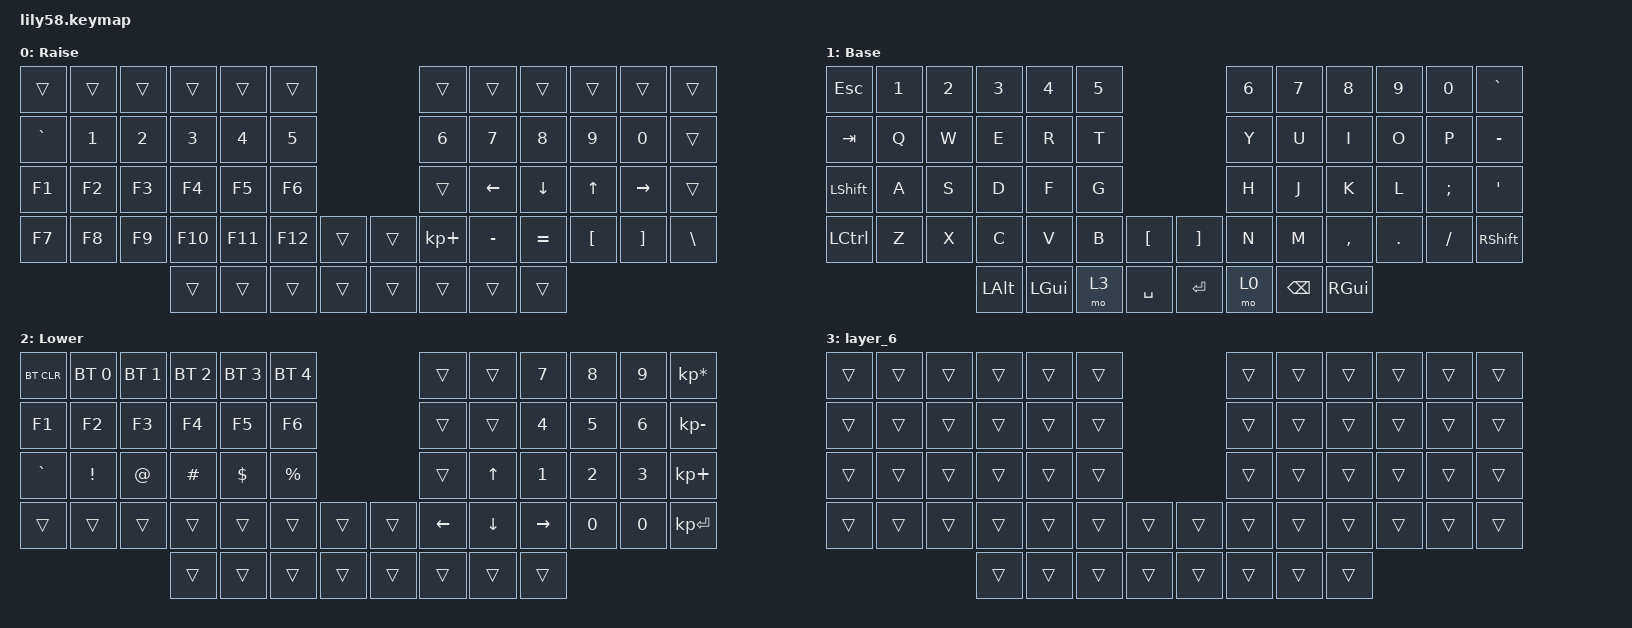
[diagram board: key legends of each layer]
/*
 * Copyright (c) 2020 The ZMK Contributors
 *
 * SPDX-License-Identifier: MIT
 */

#include <behaviors.dtsi>
#include <dt-bindings/zmk/bt.h>
#include <dt-bindings/zmk/keys.h>

/ {
    keymap {
        compatible = "zmk,keymap";

        Layer_0 {
            // ------------------------------------------------------------------------------------------------------------
            // |       |     |     |      |      |      |                   |      |       |       |      |       |       |
            // |   `   |  1  |  2  |  3   |  4   |  5   |                   |  6   |   7   |   8   |  9   |   0   |       |
            // |   F1  |  F2 |  F3 |  F4  |  F5  |  F6  |                   |      |   <-  |   v   |  ^   |  ->   |       |
            // |   F7  |  F8 |  F9 |  F10 |  F11 |  F12 |        |  |       |  +   |   -   |   =   |  [   |   ]   |   \   |
            //                     |      |      |      |        |  |       |      |       |       |

            display-name = "Raise";
            bindings = <
&trans     &trans  &trans  &trans   &trans   &trans                     &trans       &trans     &trans     &trans    &trans     &trans
&kp GRAVE  &kp N1  &kp N2  &kp N3   &kp N4   &kp N5                     &kp N6       &kp N7     &kp N8     &kp N9    &kp N0     &trans
&kp F1     &kp F2  &kp F3  &kp F4   &kp F5   &kp F6                     &trans       &kp LEFT   &kp DOWN   &kp UP    &kp RIGHT  &trans
&kp F7     &kp F8  &kp F9  &kp F10  &kp F11  &kp F12  &trans    &trans  &kp KP_PLUS  &kp MINUS  &kp EQUAL  &kp LBKT  &kp RBKT   &kp BSLH
                           &trans   &trans   &trans   &trans    &trans  &trans       &trans     &trans
            >;
        };

        Layer_Default {
            // ------------------------------------------------------------------------------------------------------------
            // |  ESC  |  1  |  2  |  3   |  4   |  5   |                   |  6   |  7    |  8    |  9   |   0   |   `   |
            // |  TAB  |  Q  |  W  |  E   |  R   |  T   |                   |  Y   |  U    |  I    |  O   |   P   |   -   |
            // |  CTRL |  A  |  S  |  D   |  F   |  G   |                   |  H   |  J    |  K    |  L   |   ;   |   '   |
            // | SHIFT |  Z  |  X  |  C   |  V   |  B   |   "["  |  |  "]"  |  N   |  M    |  ,    |  .   |   /   | SHIFT |
            //                     | ALT  | GUI  | LOWER|  SPACE |  | ENTER | RAISE| BSPC  | GUI   |

            display-name = "Base";
            bindings = <
&kp ESCAPE      &kp N1  &kp N2  &kp N3    &kp N4    &kp N5                         &kp N6  &kp N7    &kp N8     &kp N9   &kp N0    &kp GRAVE
&kp TAB         &kp Q   &kp W   &kp E     &kp R     &kp T                          &kp Y   &kp U     &kp I      &kp O    &kp P     &kp MINUS
&kp LEFT_SHIFT  &kp A   &kp S   &kp D     &kp F     &kp G                          &kp H   &kp J     &kp K      &kp L    &kp SEMI  &kp SQT
&kp LCTRL       &kp Z   &kp X   &kp C     &kp V     &kp B   &kp LBKT     &kp RBKT  &kp N   &kp M     &kp COMMA  &kp DOT  &kp FSLH  &kp RSHFT
                                &kp LALT  &kp LGUI  &mo 3   &kp SPACE    &kp RET   &mo 0   &kp BSPC  &kp RGUI
            >;
        };

        Layer_2 {
            // ------------------------------------------------------------------------------------------------------------
            // | BTCLR | BT1 | BT2 |  BT3 |  BT4 |  BT5 |                   |      |       |       |      |       |       |
            // |  F1   |  F2 |  F3 |  F4  |  F5  |  F6  |                   |  F7  |  F8   |  F9   |  F10 |  F11  |  F12  |
            // |   `   |  !  |  @  |  #   |  $   |  %   |                   |  ^   |  &    |  *    |  (   |   )   |   ~   |
            // |       |     |     |      |      |      |        |  |       |      |  _    |  +    |  {   |   }   |  "|"  |
            //                     |      |      |      |        |  |       |      |       |       |

            display-name = "Lower";
            bindings = <
&bt BT_CLR  &bt BT_SEL 0  &bt BT_SEL 1  &bt BT_SEL 2  &bt BT_SEL 3  &bt BT_SEL 4                    &trans          &trans          &kp NUMBER_7     &kp NUMBER_8  &kp NUMBER_9  &kp KP_MULTIPLY
&kp F1      &kp F2        &kp F3        &kp F4        &kp F5        &kp F6                          &trans          &trans          &kp NUMBER_4     &kp NUMBER_5  &kp NUMBER_6  &kp KP_SUBTRACT
&kp GRAVE   &kp EXCL      &kp AT        &kp HASH      &kp DOLLAR    &kp PRCNT                       &trans          &kp UP_ARROW    &kp NUMBER_1     &kp NUMBER_2  &kp NUMBER_3  &kp KP_PLUS
&trans      &trans        &trans        &trans        &trans        &trans        &trans    &trans  &kp LEFT_ARROW  &kp DOWN_ARROW  &kp RIGHT_ARROW  &kp NUMBER_0  &kp NUMBER_0  &kp KP_ENTER
                                        &trans        &trans        &trans        &trans    &trans  &trans          &trans          &trans
            >;
        };

        extra_1 { status = "reserved"; };

        extra_2 { status = "reserved"; };

        extra_3 { status = "reserved"; };

        layer_6 {
            bindings = <
&trans  &trans  &trans  &trans  &trans  &trans                    &trans  &trans  &trans  &trans  &trans  &trans
&trans  &trans  &trans  &trans  &trans  &trans                    &trans  &trans  &trans  &trans  &trans  &trans
&trans  &trans  &trans  &trans  &trans  &trans                    &trans  &trans  &trans  &trans  &trans  &trans
&trans  &trans  &trans  &trans  &trans  &trans  &trans    &trans  &trans  &trans  &trans  &trans  &trans  &trans
                        &trans  &trans  &trans  &trans    &trans  &trans  &trans  &trans
            >;
        };
    };
};
